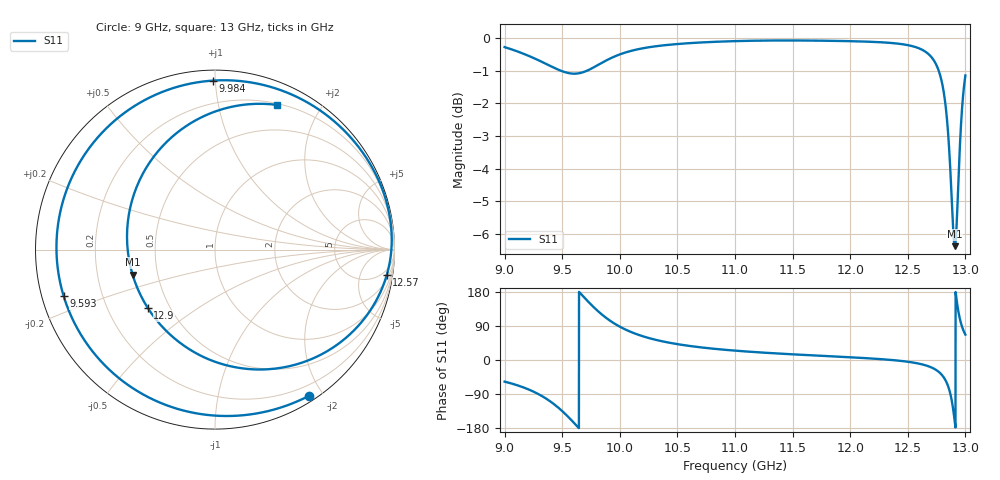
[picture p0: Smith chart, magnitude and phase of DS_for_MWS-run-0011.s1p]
! TOUCHSTONE file generated by CST DESIGN STUDIO
! Date and time: Tue Feb  4 14:17:39 2025
! Project name: C:\Work\MatlabApps\UnitCellOptimizationMatlab\CST\unitcell.cst
! Tree item: Tasks\Sweep1\SPara1\S-Parameters
! Header version: 2024
! Port assignment regex: !\s*Touchstone port\s*([0-9]+)\s*=\s*(CST MWS port|CST DES external port|CST DES block port)\s*(.+)\s* \(\"(.*)\"\)(\s*mode\s*([0-9]+))?.*
! Touchstone port assignment:
! Touchstone port 1 = CST DES external port 1 ("")
# GHz S MA R 50
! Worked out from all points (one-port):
!   4001 points, 9 GHz to 13 GHz, reference 50 ohm
!   lowest |S11| = -6.4 dB at 12.91 GHz (marker M1), VSWR 2.85, Z = 17.9 - j6.47 ohm
!   |S11| at or under -10 dB: nowhere
!   S11 on the Smith chart (normalised r, x): 9 GHz: 0.07, -1.84; 9.593 GHz: 0.06, -0.15; 9.984 GHz: 0.06, +0.99; 12.57 GHz: 3, -13; 12.9 GHz: 0.38, -0.32; 13 GHz: 0.21, +1.49
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9  0.9687 -57.1
9.165  0.9461 -72.5
9.317  0.9208 -93.9
9.415  0.9031 -113.4
9.5  0.8896 -134.8
9.593  0.8821 -162.9
9.69  0.8877 165.4
9.801  0.9075 131.5
9.886  0.9249 110.1
9.984  0.9417 90.6
10  0.9441 87.9
10.217  0.9659 61.0
10.5  0.9793 41.9
11  0.9893 24.7
11.5  0.9916 15.0
12  0.9892 7.2
12.5  0.9755 -4.6
12.575  0.9678 -8.3
12.709  0.9333 -20.2
12.787  0.869 -36.4
12.824  0.7986 -51.6
12.857  0.6856 -75.5
12.878  0.5838 -101.3
12.898  0.4957 -139.2
12.908  0.48 -163.2
12.929  0.5428 147.2
12.954  0.6936 106.0
13  0.8764 67.0
